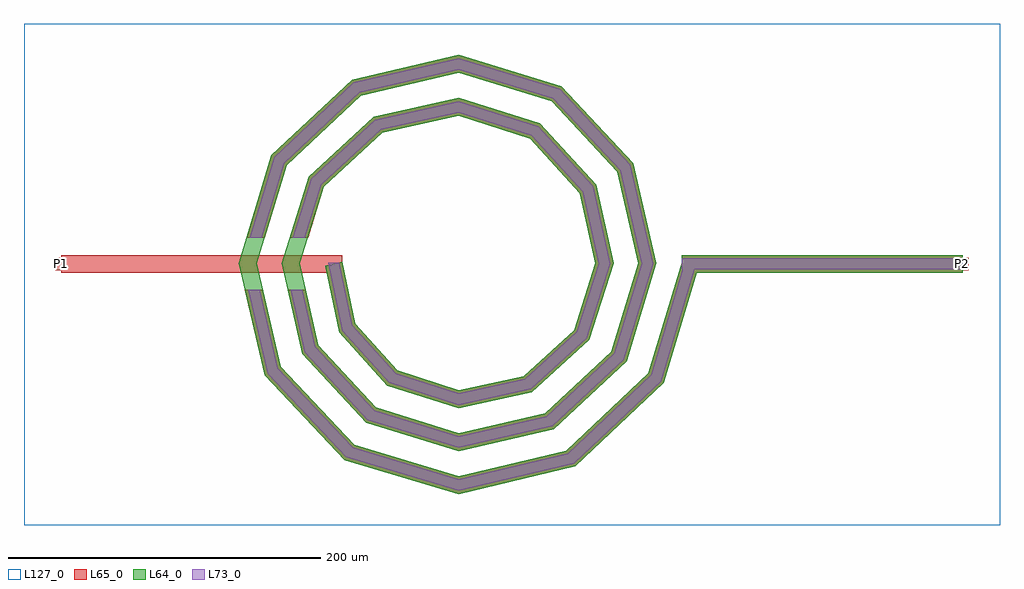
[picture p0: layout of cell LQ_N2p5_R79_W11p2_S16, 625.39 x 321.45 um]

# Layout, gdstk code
import gdstk
lib = gdstk.Library(unit=1e-6, precision=1e-09)
def R(c, l, rs):  # rectangles x0, y0, x1, y1
    for r in rs: c.add(gdstk.rectangle(r[:2], r[2:], *l))
def P(c, l, *ps):  # polygons
    for p in ps: c.add(gdstk.Polygon(p, *l))
L64_0 = (64, 0)
L65_0 = (65, 0)
L73_0 = (73, 0)
L127_0 = (127, 0)

lq_n2p5_r79_w11p2_s16 = lib.new_cell('LQ_N2p5_R79_W11p2_S16')
R(lq_n2p5_r79_w11p2_s16, L64_0, [(143.088,-5.6,323.088,5.6)])
P(lq_n2p5_r79_w11p2_s16, L64_0, [(-66.022,-38.466),(-39.097,-68.304),(0.286,-80.994),(41.884,-71.989),(74.249,-42.554),(87.871,0.265),(77.955,45.305),(46.009,80.195),(0.247,94.748),(-48.729,83.919),(-86.143,49.463),(-101.626,0.231),(-89.883,-52.155),(-52.914,-92.092),(0.217,-108.504),(55.582,-95.846),(98.042,-56.364),(115.381,0.205),(101.808,59.011),(59.813,103.993),(0.194,122.259),(-62.441,107.77),(-109.944,63.26),(-129.137,0.184),(-113.731,-65.871),(-66.707,-115.896),(0.175,-136.015),(69.303,-119.692),(121.848,-70.153),(143.323,1.606),(154.053,-1.606),(131.717,-76.242),(74.8,-129.902),(0.175,-147.605),(-72.81,-125.756),(-123.949,-71.353),(-140.727,0.184),(-119.794,69.379),(-67.906,117.997),(0.194,133.849),(65.949,113.832),(112.046,64.458),(126.97,0.205),(107.87,-62.519),(61.008,-106.095),(0.217,-120.092),(-59.091,-101.906),(-100.144,-57.557),(-113.213,0.231),(-95.942,55.664),(-54.105,94.195),(0.247,106.335),(52.239,89.977),(88.246,50.651),(99.456,0.265),(84.01,-48.816),(47.194,-82.299),(0.286,-92.577),(-45.396,-78.041),(-76.353,-43.734),(-85.385,-1.162),(-74.429,1.162)])
R(lq_n2p5_r79_w11p2_s16, L65_0, [(-254.307,-5.6,-74.307,5.6), (143.088,-5.6,323.088,5.6), (-258.307,-4,-250.307,4), (319.088,-4,327.088,4)])
P(lq_n2p5_r79_w11p2_s16, L65_0, [(-113.731,-65.871),(-66.707,-115.896),(0.175,-136.015),(69.303,-119.692),(121.848,-70.153),(143.323,1.606),(154.053,-1.606),(131.717,-76.242),(74.8,-129.902),(0.175,-147.605),(-72.81,-125.756),(-123.949,-71.353),(-136.744,-16.8),(-125.24,-16.8)],
  [(-89.883,-52.155),(-52.914,-92.092),(0.217,-108.504),(55.582,-95.846),(98.042,-56.364),(115.381,0.205),(101.808,59.011),(59.813,103.993),(0.194,122.259),(-62.441,107.77),(-109.944,63.26),(-123.999,16.8),(-135.7,16.8),(-119.794,69.379),(-67.906,117.997),(0.194,133.849),(65.949,113.832),(112.046,64.458),(126.97,0.205),(107.87,-62.519),(61.008,-106.095),(0.217,-120.092),(-59.091,-101.906),(-100.144,-57.557),(-109.362,-16.8),(-97.879,-16.8)],
  [(-39.097,-68.304),(0.286,-80.994),(41.884,-71.989),(74.249,-42.554),(87.871,0.265),(77.955,45.306),(46.01,80.195),(0.247,94.749),(-48.729,83.919),(-86.143,49.463),(-96.32,16.8),(-108.051,16.8),(-95.942,55.664),(-54.105,94.195),(0.247,106.335),(52.239,89.977),(88.246,50.651),(99.456,0.265),(84.01,-48.816),(47.194,-82.299),(0.286,-92.577),(-45.396,-78.042),(-76.353,-43.734),(-85.385,-1.162),(-74.429,1.162),(-66.022,-38.466)])
R(lq_n2p5_r79_w11p2_s16, L73_0, [(143.088,-3.6,323.088,3.6)])
P(lq_n2p5_r79_w11p2_s16, L73_0, [(-115.556,-66.85),(-67.797,-117.656),(0.112,-138.085),(70.284,-121.515),(123.61,-71.241),(145.239,1.032),(152.137,-1.032),(129.954,-75.155),(73.818,-128.078),(0.112,-145.536),(-71.72,-123.995),(-122.125,-70.375),(-134.69,-16.8),(-127.294,-16.8)],
  [(-91.716,-53.12),(-54.017,-93.845),(0.139,-110.573),(56.551,-97.676),(99.797,-57.463),(117.451,0.132),(103.636,59.984),(60.908,105.75),(0.125,124.329),(-63.417,109.596),(-111.703,64.353),(-126.089,16.8),(-133.611,16.8),(-118.035,68.286),(-66.93,116.171),(0.125,131.779),(64.853,112.075),(110.217,63.485),(124.901,0.132),(106.115,-61.42),(60.039,-104.264),(0.139,-118.023),(-57.988,-100.154),(-98.312,-56.593),(-107.311,-16.8),(-99.929,-16.8)],
  [(-40.222,-70.043),(0.184,-83.062),(42.832,-73.83),(75.992,-43.673),(89.94,0.17),(79.793,46.26),(47.122,81.942),(0.159,96.817),(-49.689,85.754),(-87.893,50.57),(-98.415,16.8),(-105.956,16.8),(-94.192,54.557),(-53.145,92.36),(0.159,104.266),(51.127,88.23),(86.408,49.696),(97.387,0.17),(82.267,-47.698),(46.246,-80.458),(0.184,-90.509),(-44.271,-76.303),(-74.508,-42.794),(-83.429,0.747),(-76.386,0.747),(-67.866,-39.407)])
R(lq_n2p5_r79_w11p2_s16, L127_0, [(-278.307,-167.605,347.088,153.849)])
lq_n2p5_r79_w11p2_s16.add(gdstk.Label('P2', (323.088,0), layer=65, texttype=0))
lq_n2p5_r79_w11p2_s16.add(gdstk.Label('P1', (-254.307,0), layer=65, texttype=0))
lq_n2p5_r79_w11p2_s16.add(gdstk.Label('P2', (327.088,0), layer=145, texttype=0))
lq_n2p5_r79_w11p2_s16.add(gdstk.Label('P1', (-258.307,0), layer=145, texttype=0))

lib.write_gds('LQ_N2p5_R79_W11p2_S16.gds')
